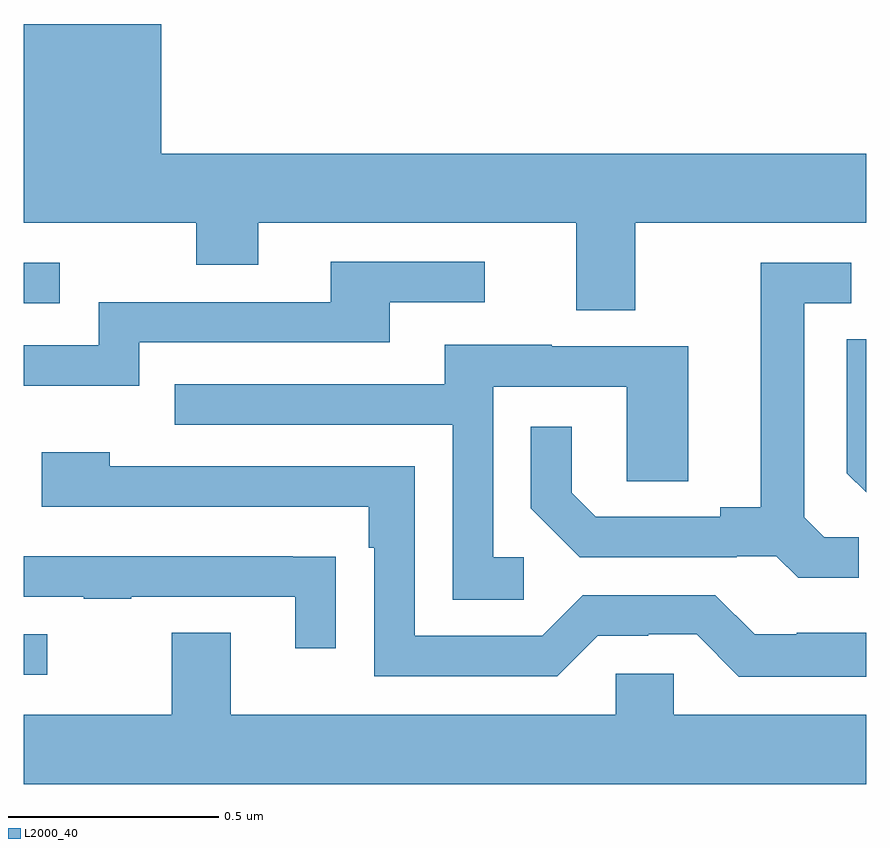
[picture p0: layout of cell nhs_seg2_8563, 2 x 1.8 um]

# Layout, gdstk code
import gdstk
lib = gdstk.Library(unit=1e-6, precision=1e-09)
def R(c, l, rs):  # rectangles x0, y0, x1, y1
    for r in rs: c.add(gdstk.rectangle(r[:2], r[2:], *l))
def P(c, l, *ps):  # polygons
    for p in ps: c.add(gdstk.Polygon(p, *l))
L2000_40 = (2000, 40)

nhs_seg2_8563 = lib.new_cell('nhs_seg2_8563')
R(nhs_seg2_8563, L2000_40, [(218,621.255,218.056,621.351), (218,622.137,218.086,622.233)])
P(nhs_seg2_8563, L2000_40, [(219.451,622.328),(220,622.328),(220,622.492),(218.326,622.492),(218.326,622.8),(218,622.8),(218,622.328),(218.41,622.328),(218.41,622.229),(218.557,622.229),(218.557,622.328),(219.311,622.328),(219.311,622.12),(219.451,622.12)],
  [(218.274,622.044),(218.869,622.044),(218.869,622.14),(219.094,622.14),(219.094,622.236),(218.729,622.236),(218.729,622.14),(218.178,622.14),(218.178,622.038),(218,622.038),(218,621.941),(218.274,621.941)],
  [(219.982,621.582),(219.9,621.582),(219.853,621.629),(219.853,622.137),(219.964,622.137),(219.964,622.233),(219.749,622.233),(219.749,621.653),(219.653,621.653),(219.653,621.63),(219.358,621.63),(219.301,621.687),(219.301,621.844),(219.204,621.844),(219.204,621.65),(219.32,621.534),(219.692,621.534),(219.692,621.537),(219.786,621.537),(219.838,621.485),(219.982,621.485)],
  [(220,622.052),(219.954,622.052),(219.954,621.734),(220,621.688)],
  [(219.187,621.534),(219.114,621.534),(219.114,621.939),(219.432,621.939),(219.432,621.715),(219.577,621.715),(219.577,622.035),(219.253,622.035),(219.253,622.039),(218.999,622.039),(218.999,621.945),(218.359,621.945),(218.359,621.849),(219.018,621.849),(219.018,621.433),(219.187,621.433)],
  [(220,621.355),(219.835,621.355),(219.835,621.351),(219.735,621.351),(219.642,621.444),(219.327,621.444),(219.231,621.348),(218.928,621.348),(218.928,621.75),(218.204,621.75),(218.204,621.784),(218.043,621.784),(218.043,621.654),(218.819,621.654),(218.819,621.557),(218.832,621.557),(218.832,621.252),(219.267,621.252),(219.363,621.348),(219.482,621.348),(219.482,621.351),(219.597,621.351),(219.697,621.251),(220,621.251)],
  [(218.741,621.536),(218.639,621.536),(218.639,621.537),(218,621.537),(218,621.441),(218.143,621.441),(218.143,621.436),(218.255,621.436),(218.255,621.441),(218.645,621.441),(218.645,621.318),(218.741,621.318)],
  [(220,621.16),(219.543,621.16),(219.543,621.258),(219.405,621.258),(219.405,621.16),(218.491,621.16),(218.491,621.355),(218.351,621.355),(218.351,621.16),(218,621.16),(218,620.996),(220,620.996)])

lib.write_gds('nhs_seg2_8563.gds')
